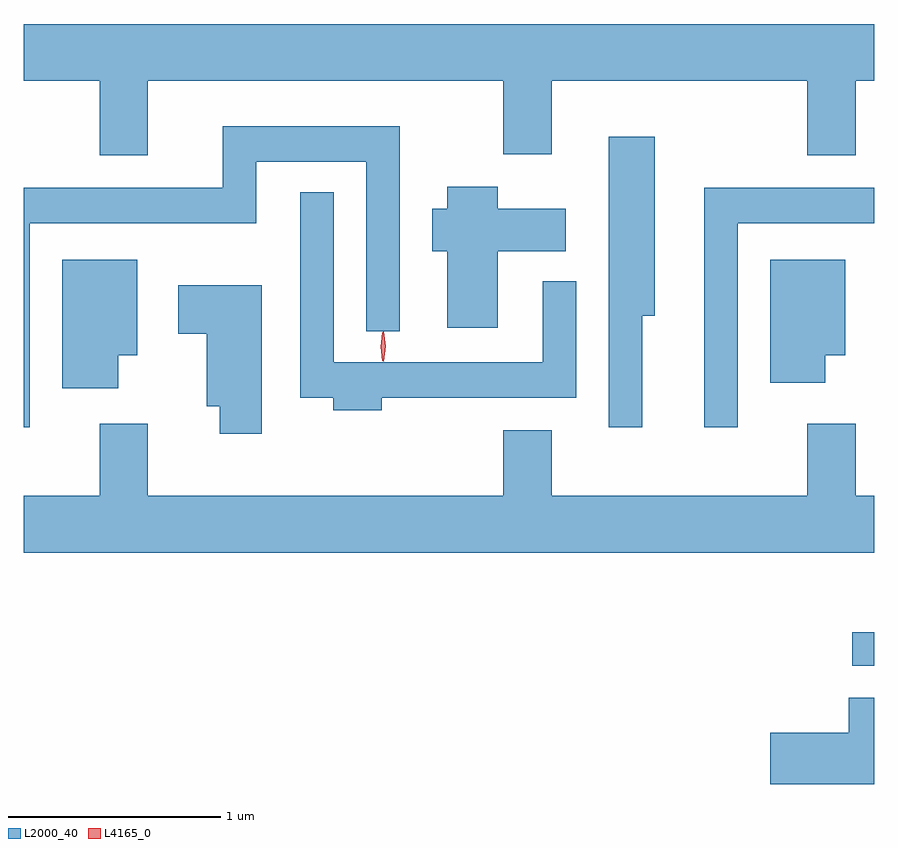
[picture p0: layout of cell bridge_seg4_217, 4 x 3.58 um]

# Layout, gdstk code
import gdstk
lib = gdstk.Library(unit=1e-6, precision=1e-09)
def R(c, l, rs):  # rectangles x0, y0, x1, y1
    for r in rs: c.add(gdstk.rectangle(r[:2], r[2:], *l))
def P(c, l, *ps):  # polygons
    for p in ps: c.add(gdstk.Polygon(p, *l))
L2000_40 = (2000, 40)
L4165_0 = (4165, 0)

bridge_seg4_217 = lib.new_cell('bridge_seg4_217')
R(bridge_seg4_217, L2000_40, [(1039.303,1311.966,1039.405,1312.124)])
P(bridge_seg4_217, L2000_40, [(1035.989,1314.716),(1037.661,1314.716),(1037.661,1314.371),(1037.889,1314.371),(1037.889,1314.716),(1039.091,1314.716),(1039.091,1314.366),(1039.319,1314.366),(1039.319,1314.716),(1039.405,1314.716),(1039.405,1314.984),(1035.405,1314.984),(1035.405,1314.716),(1035.761,1314.716),(1035.761,1314.366),(1035.989,1314.366)],
  [(1035.434,1314.046),(1036.499,1314.046),(1036.499,1314.336),(1037.016,1314.336),(1037.016,1313.538),(1037.174,1313.538),(1037.174,1314.504),(1036.341,1314.504),(1036.341,1314.214),(1035.405,1314.214),(1035.405,1313.088),(1035.434,1313.088)],
  [(1038.314,1313.611),(1038.374,1313.611),(1038.374,1314.454),(1038.156,1314.454),(1038.156,1313.088),(1038.314,1313.088)],
  [(1037.634,1313.916),(1037.954,1313.916),(1037.954,1314.114),(1037.634,1314.114),(1037.634,1314.219),(1037.396,1314.219),(1037.396,1314.114),(1037.326,1314.114),(1037.326,1313.916),(1037.396,1313.916),(1037.396,1313.556),(1037.634,1313.556)],
  [(1038.764,1314.046),(1039.405,1314.046),(1039.405,1314.214),(1038.606,1314.214),(1038.606,1313.088),(1038.764,1313.088)],
  [(1037.089,1313.226),(1038.004,1313.226),(1038.004,1313.773),(1037.846,1313.773),(1037.846,1313.394),(1036.864,1313.394),(1036.864,1314.193),(1036.706,1314.193),(1036.706,1313.226),(1036.861,1313.226),(1036.861,1313.166),(1037.089,1313.166)],
  [(1039.174,1313.426),(1039.269,1313.426),(1039.269,1313.874),(1038.916,1313.874),(1038.916,1313.296),(1039.174,1313.296)],
  [(1035.849,1313.426),(1035.939,1313.426),(1035.939,1313.874),(1035.586,1313.874),(1035.586,1313.271),(1035.849,1313.271)],
  [(1036.524,1313.754),(1036.131,1313.754),(1036.131,1313.526),(1036.266,1313.526),(1036.266,1313.186),(1036.326,1313.186),(1036.326,1313.056),(1036.524,1313.056)],
  [(1039.405,1312.764),(1039.319,1312.764),(1039.319,1313.104),(1039.091,1313.104),(1039.091,1312.764),(1037.889,1312.764),(1037.889,1313.074),(1037.661,1313.074),(1037.661,1312.764),(1035.989,1312.764),(1035.989,1313.104),(1035.761,1313.104),(1035.761,1312.764),(1035.405,1312.764),(1035.405,1312.496),(1039.405,1312.496)],
  [(1039.405,1311.814),(1039.286,1311.814),(1039.286,1311.649),(1038.916,1311.649),(1038.916,1311.409),(1039.405,1311.409)])
P(bridge_seg4_217, L4165_0, [(1037.097,1313.397),(1037.096,1313.398),(1037.087,1313.467),(1037.096,1313.536),(1037.097,1313.536),(1037.097,1313.536),(1037.107,1313.467),(1037.097,1313.398)],
  [(1037.093,1313.399),(1037.092,1313.4),(1037.083,1313.466),(1037.092,1313.532),(1037.093,1313.533),(1037.093,1313.532),(1037.103,1313.466),(1037.093,1313.4)])

lib.write_gds('bridge_seg4_217.gds')
